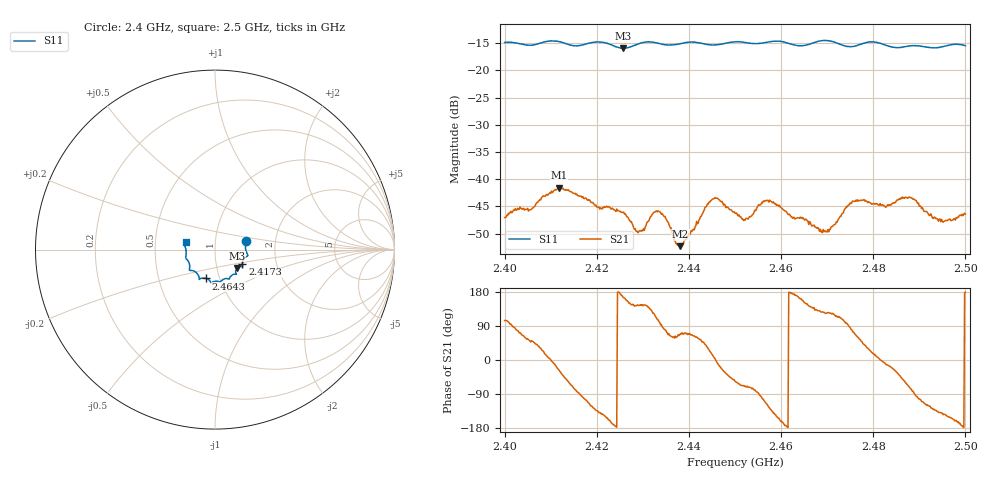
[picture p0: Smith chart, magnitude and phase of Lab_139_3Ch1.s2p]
# Hz S RI R 50
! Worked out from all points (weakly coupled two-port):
!   601 points, 2.4 GHz to 2.5 GHz, reference 50 ohm
!   highest |S21| = -41.53 dB at 2.4118 GHz (marker M1); lowest = -52.3 dB at 2.4382 GHz (marker M2)
!   lowest |S11| = -15.9 dB at 2.4257 GHz (marker M3), VSWR 1.38, Z = 62.4 - j13.1 ohm
!   |S11| at or under -10 dB: start of sweep to end of sweep
!   S12 and S22 are empty: the file has one direction only
!   S11 on the Smith chart (normalised r, x): 2.4 GHz: 1.41, +0.14; 2.4173 GHz: 1.34, -0.23; 2.4643 GHz: 0.86, -0.28; 2.5 GHz: 0.72, +0.06
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2.4e9  0.1736 0.0496  -0.00109 0.00432  0 0  0 0
2.402833e9  0.1739 0.0361  0.00119 0.00528  0 0  0 0
2.405667e9  0.1701 0.00543  0.00355 0.00387  0 0  0 0
2.411833e9  0.1803 -0.0358  0.00749 -0.00378  0 0  0 0
2.416667e9  0.153 -0.0747  -0.000496 -0.00697  0 0  0 0
2.417333e9  0.1524 -0.0823  -0.00143 -0.00648  0 0  0 0
2.425667e9  0.1225 -0.1024  -0.00483 0.00119  0 0  0 0
2.429167e9  0.1164 -0.1322  -0.00271 0.00195  0 0  0 0
2.433333e9  0.1128 -0.1368  -0.0014 0.00492  0 0  0 0
2.438167e9  0.0825 -0.1556  0.000865 0.00227  0 0  0 0
2.445167e9  0.054 -0.1624  0.00643 0.00142  0 0  0 0
2.45e9  0.0295 -0.1809  0.0027 -0.00407  0 0  0 0
2.452333e9  0.0213 -0.1787  0.00141 -0.00412  0 0  0 0
2.457e9  -0.0135 -0.181  -0.00294 -0.0057  0 0  0 0
2.464333e9  -0.0503 -0.1606  -0.00419 0.00137  0 0  0 0
2.466667e9  -0.0764 -0.1598  -0.00278 0.00246  0 0  0 0
2.470167e9  -0.0875 -0.1659  -0.00198 0.00282  0 0  0 0
2.476e9  -0.1164 -0.1196  0.00228 0.00584  0 0  0 0
2.483333e9  -0.1411 -0.0894  0.00553 -0.00149  0 0  0 0
2.487833e9  -0.1599 -0.0518  0.00221 -0.00652  0 0  0 0
2.494667e9  -0.1633 0.0065  -0.00308 -0.00268  0 0  0 0
2.5e9  -0.1635 0.042  -0.00479 8.8e-05  0 0  0 0
